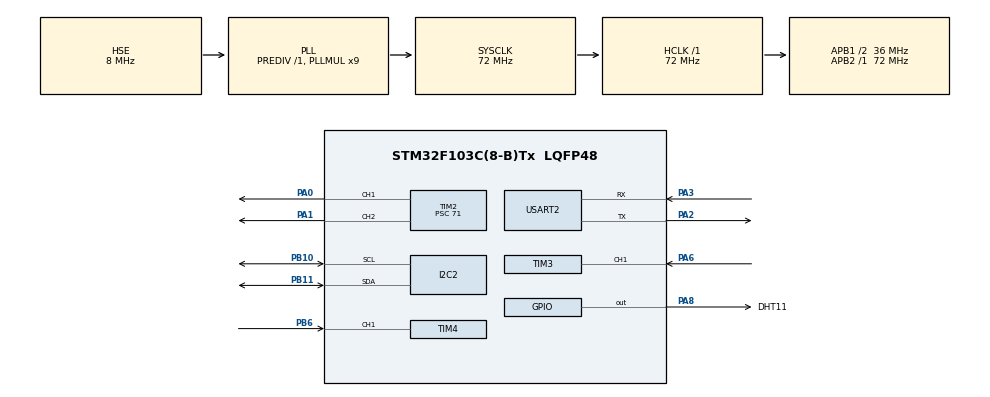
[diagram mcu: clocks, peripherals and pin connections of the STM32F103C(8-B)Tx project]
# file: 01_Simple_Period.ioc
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Mcu.Family=STM32F1
Mcu.Name=STM32F103C(8-B)Tx
Mcu.Package=LQFP48
NVIC.PriorityGroup=NVIC_PRIORITYGROUP_4
NVIC.TIM1_UP_IRQn=true\:0\:0\:false\:false\:true\:true\:true\:true
NVIC.TIM3_IRQn=true\:0\:0\:false\:false\:true\:true\:true\:true
NVIC.TIM4_IRQn=true\:0\:0\:false\:false\:true\:true\:true\:true
NVIC.USART2_IRQn=true\:0\:0\:false\:false\:true\:true\:true\:true
PA0-WKUP.Signal=S_TIM2_CH1_ETR
PA1.Signal=S_TIM2_CH2
PA13.Mode=Serial_Wire
PA13.Signal=SYS_JTMS-SWDIO
PA14.Mode=Serial_Wire
PA14.Signal=SYS_JTCK-SWCLK
PA2.Mode=Asynchronous
PA2.Signal=USART2_TX
PA3.Mode=Asynchronous
PA3.Signal=USART2_RX
PA6.Signal=S_TIM3_CH1
PA8.GPIO_Label=DHT11
PA8.PinState=GPIO_PIN_SET
PA8.Signal=GPIO_Output
PB10.Mode=I2C
PB10.Signal=I2C2_SCL
PB11.Mode=I2C
PB11.Signal=I2C2_SDA
PB6.Signal=S_TIM4_CH1
PD0-OSC_IN.Mode=HSE-External-Oscillator
PD0-OSC_IN.Signal=RCC_OSC_IN
PD1-OSC_OUT.Mode=HSE-External-Oscillator
PD1-OSC_OUT.Signal=RCC_OSC_OUT
ProjectManager.HeapSize=0x200
ProjectManager.StackSize=0x400
ProjectManager.TargetToolchain=STM32CubeIDE
RCC.AHBFreq_Value=72000000
RCC.APB1CLKDivider=RCC_HCLK_DIV2
RCC.APB1Freq_Value=36000000
RCC.APB1TimFreq_Value=72000000
RCC.APB2Freq_Value=72000000
RCC.APB2TimFreq_Value=72000000
RCC.HCLKFreq_Value=72000000
RCC.PLLMUL=RCC_PLL_MUL9
RCC.PLLSourceVirtual=RCC_PLLSOURCE_HSE
RCC.SYSCLKFreq_VALUE=72000000
RCC.SYSCLKSource=RCC_SYSCLKSOURCE_PLLCLK
RCC.USBFreq_Value=72000000
SH.S_TIM2_CH1_ETR.0=TIM2_CH1,PWM Generation1 CH1
SH.S_TIM2_CH2.0=TIM2_CH2,PWM Generation2 CH2
SH.S_TIM3_CH1.0=TIM3_CH1,Input_Capture1_from_TI1
SH.S_TIM4_CH1.0=TIM4_CH1,Input_Capture1_from_TI1
TIM1.Period=49999
TIM1.Prescaler=7199
TIM2.Channel-PWM\ Generation1\ CH1=TIM_CHANNEL_1
TIM2.Channel-PWM\ Generation2\ CH2=TIM_CHANNEL_2
TIM2.Period=999
TIM2.Prescaler=71
TIM2.Pulse-PWM\ Generation1\ CH1=500
TIM2.Pulse-PWM\ Generation2\ CH2=300
TIM3.Channel-Input_Capture1_from_TI1=TIM_CHANNEL_1
TIM3.Prescaler=71
TIM4.Channel-Input_Capture1_from_TI1=TIM_CHANNEL_1
TIM4.Period=0xffff - 1
TIM4.Prescaler=72-1
USART2.VirtualMode=VM_ASYNC
VP_TIM1_VS_ClockSourceINT.Mode=Internal
VP_TIM4_VS_ClockSourceINT.Mode=Internal
board=custom

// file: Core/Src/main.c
/* USER CODE BEGIN Header */
/**
  ******************************************************************************
  * @file           : main.c
  * @brief          : Main program body
  ******************************************************************************
  * @attention
  *
  * <h2><center>&copy; Copyright (c) 2020 STMicroelectronics.
  * All rights reserved.</center></h2>
  *
  * This software component is licensed by ST under BSD 3-Clause license,
  * the "License"; You may not use this file except in compliance with the
  * License. You may obtain a copy of the License at:
  *                        opensource.org/licenses/BSD-3-Clause
  *
  ******************************************************************************
  */
/* USER CODE END Header */
#include "main.h"
#include <stdio.h>
#include "DHT11/DHT.h"
#include "UART/my_uart.h"
#include "LCD/LCD.h"
#include "Frequency/Frequency.h"
/* USER CODE BEGIN Includes */
//#include "DHT11/DHT.h"
/* USER CODE END Includes */

I2C_HandleTypeDef hi2c2;

TIM_HandleTypeDef htim1;
TIM_HandleTypeDef htim2;
TIM_HandleTypeDef htim3;
TIM_HandleTypeDef htim4;

UART_HandleTypeDef huart2;

/* USER CODE BEGIN PV */
//DHT_Name DHT1;
float humi;
float temp;
uint32_t Frequency = 0;
volatile uint8_t flag_5s  = 0;

// Biến toàn cục dùng chung cho các task
float temp = 0, humi = 0;
uint32_t f1 = 0, f2 = 0;
bool dht_ok = false;
/* USER CODE END PV */

void SystemClock_Config(void);
static void MX_GPIO_Init(void);
static void MX_I2C2_Init(void);
static void MX_TIM4_Init(void);
static void MX_USART2_UART_Init(void);
static void MX_TIM2_Init(void);
static void MX_TIM3_Init(void);
static void MX_TIM1_Init(void);

/* USER CODE BEGIN 0 */
void HAL_TIM_PeriodElapsedCallback(TIM_HandleTypeDef *htim)
{
    if (htim->Instance == TIM1)
    {
    	UART_SendString(&huart2, "Ngat moi 5s\r\n");
    	flag_5s  = 1;
    }
}

// Task đọc tần số
void Task_ReadFrequency(void) {
    f1 = Frequency1_Read();
    f2 = Frequency2_Read();
}

// Task đọc nhiệt độ, độ ẩm
void Task_ReadDHT(void) {
    dht_ok = DHT11_Read(&temp, &humi);
}

// Task hiển thị LCD
void Task_LCD_Display(void) {
    if (dht_ok) {
        LCD_PrintFloat(0, 0, "Tem: ", temp, "C");
        LCD_PrintFloat(1, 0, "Hum: ", humi, "%");
    } else {
        LCD_Send_String("DHT Error");
    }
}

// Task gửi UART
void Task_UART_Send(void) {
    char msg[64];
    if (dht_ok) {
        sprintf(msg, "Temp: %.1f | Humi: %.1f | F1: %lu | F2: %lu\r\n", temp, humi, f1, f2);
    } else {
        sprintf(msg, "DHT11 Read Failed | F1: %lu | F2: %lu\r\n", f1, f2);
    }
    UART_SendString(&huart2, msg);
}

// Hàm gọi tuần tự các task
void App_ExecutePeriodicTasks(void)
{
    Task_ReadFrequency();
    Task_ReadDHT();
    Task_LCD_Display();
    Task_UART_Send();
}
/* USER CODE END 0 */

int main(void)
{

  /* MCU Configuration--------------------------------------------------------*/

  /* Reset of all peripherals, Initializes the Flash interface and the Systick. */
  HAL_Init();

  /* Configure the system clock */
  SystemClock_Config();

  /* Initialize all configured peripherals */
  MX_GPIO_Init();
  MX_I2C2_Init();
  MX_TIM4_Init();
  MX_USART2_UART_Init();
  MX_TIM2_Init();
  MX_TIM3_Init();
  MX_TIM1_Init();
  /* USER CODE BEGIN 2 */
//  HAL_TIM_Base_Start(&htim4);
  HAL_TIM_Base_Start_IT(&htim1);
  HAL_TIM_PWM_Start(&htim2, TIM_CHANNEL_1);
  HAL_TIM_PWM_Start(&htim2, TIM_CHANNEL_2);
  Frequency1_Init(&htim3); // HAL_TIM_IC_Start_IT
  Frequency2_Init(&htim4);
  UART_StartReceive_IT();
  DHT11_Init(&htim4);
  LCD_Init(&hi2c2);

  /* USER CODE END 2 */

  /* Infinite loop */
  while (1)
  {

    /* USER CODE BEGIN 3 */
	    if (flag_5s)
	    {
	        flag_5s = 0;
	        App_ExecutePeriodicTasks();  // DHT11, LCD, UART
	    }
  }

  /* USER CODE END 3 */
}

void SystemClock_Config(void)
{
  RCC_OscInitTypeDef RCC_OscInitStruct = {0};
  RCC_ClkInitTypeDef RCC_ClkInitStruct = {0};

  /** Initializes the RCC Oscillators according to the specified parameters
  * in the RCC_OscInitTypeDef structure.
  */
  RCC_OscInitStruct.OscillatorType = RCC_OSCILLATORTYPE_HSE;
  RCC_OscInitStruct.HSEState = RCC_HSE_ON;
  RCC_OscInitStruct.HSEPredivValue = RCC_HSE_PREDIV_DIV1;
  RCC_OscInitStruct.HSIState = RCC_HSI_ON;
  RCC_OscInitStruct.PLL.PLLState = RCC_PLL_ON;
  RCC_OscInitStruct.PLL.PLLSource = RCC_PLLSOURCE_HSE;
  RCC_OscInitStruct.PLL.PLLMUL = RCC_PLL_MUL9;
  if (HAL_RCC_OscConfig(&RCC_OscInitStruct) != HAL_OK)
  {
    Error_Handler();
  }

  /** Initializes the CPU, AHB and APB buses clocks
  */
  RCC_ClkInitStruct.ClockType = RCC_CLOCKTYPE_HCLK|RCC_CLOCKTYPE_SYSCLK
                              |RCC_CLOCKTYPE_PCLK1|RCC_CLOCKTYPE_PCLK2;
  RCC_ClkInitStruct.SYSCLKSource = RCC_SYSCLKSOURCE_PLLCLK;
  RCC_ClkInitStruct.AHBCLKDivider = RCC_SYSCLK_DIV1;
  RCC_ClkInitStruct.APB1CLKDivider = RCC_HCLK_DIV2;
  RCC_ClkInitStruct.APB2CLKDivider = RCC_HCLK_DIV1;

  if (HAL_RCC_ClockConfig(&RCC_ClkInitStruct, FLASH_LATENCY_2) != HAL_OK)
  {
    Error_Handler();
  }
}

static void MX_I2C2_Init(void)
{

  hi2c2.Instance = I2C2;
  hi2c2.Init.ClockSpeed = 100000;
  hi2c2.Init.DutyCycle = I2C_DUTYCYCLE_2;
  hi2c2.Init.OwnAddress1 = 0;
  hi2c2.Init.AddressingMode = I2C_ADDRESSINGMODE_7BIT;
  hi2c2.Init.DualAddressMode = I2C_DUALADDRESS_DISABLE;
  hi2c2.Init.OwnAddress2 = 0;
  hi2c2.Init.GeneralCallMode = I2C_GENERALCALL_DISABLE;
  hi2c2.Init.NoStretchMode = I2C_NOSTRETCH_DISABLE;
  if (HAL_I2C_Init(&hi2c2) != HAL_OK)
  {
    Error_Handler();
  }

}

static void MX_TIM1_Init(void)
{

  TIM_ClockConfigTypeDef sClockSourceConfig = {0};
  TIM_MasterConfigTypeDef sMasterConfig = {0};

  htim1.Instance = TIM1;
  htim1.Init.Prescaler = 7199;
  htim1.Init.CounterMode = TIM_COUNTERMODE_UP;
  htim1.Init.Period = 49999;
  htim1.Init.ClockDivision = TIM_CLOCKDIVISION_DIV1;
  htim1.Init.RepetitionCounter = 0;
  htim1.Init.AutoReloadPreload = TIM_AUTORELOAD_PRELOAD_DISABLE;
  if (HAL_TIM_Base_Init(&htim1) != HAL_OK)
  {
    Error_Handler();
  }
  sClockSourceConfig.ClockSource = TIM_CLOCKSOURCE_INTERNAL;
  if (HAL_TIM_ConfigClockSource(&htim1, &sClockSourceConfig) != HAL_OK)
  {
    Error_Handler();
  }
  sMasterConfig.MasterOutputTrigger = TIM_TRGO_RESET;
  sMasterConfig.MasterSlaveMode = TIM_MASTERSLAVEMODE_DISABLE;
  if (HAL_TIMEx_MasterConfigSynchronization(&htim1, &sMasterConfig) != HAL_OK)
  {
    Error_Handler();
  }

}

static void MX_TIM2_Init(void)
{

  TIM_MasterConfigTypeDef sMasterConfig = {0};
  TIM_OC_InitTypeDef sConfigOC = {0};

  htim2.Instance = TIM2;
  htim2.Init.Prescaler = 71;
  htim2.Init.CounterMode = TIM_COUNTERMODE_UP;
  htim2.Init.Period = 999;
  htim2.Init.ClockDivision = TIM_CLOCKDIVISION_DIV1;
  htim2.Init.AutoReloadPreload = TIM_AUTORELOAD_PRELOAD_DISABLE;
  if (HAL_TIM_PWM_Init(&htim2) != HAL_OK)
  {
    Error_Handler();
  }
  sMasterConfig.MasterOutputTrigger = TIM_TRGO_RESET;
  sMasterConfig.MasterSlaveMode = TIM_MASTERSLAVEMODE_DISABLE;
  if (HAL_TIMEx_MasterConfigSynchronization(&htim2, &sMasterConfig) != HAL_OK)
  {
    Error_Handler();
  }
  sConfigOC.OCMode = TIM_OCMODE_PWM1;
  sConfigOC.Pulse = 500;
  sConfigOC.OCPolarity = TIM_OCPOLARITY_HIGH;
  sConfigOC.OCFastMode = TIM_OCFAST_DISABLE;
  if (HAL_TIM_PWM_ConfigChannel(&htim2, &sConfigOC, TIM_CHANNEL_1) != HAL_OK)
  {
    Error_Handler();
  }
  sConfigOC.Pulse = 300;
  if (HAL_TIM_PWM_ConfigChannel(&htim2, &sConfigOC, TIM_CHANNEL_2) != HAL_OK)
  {
    Error_Handler();
  }
  HAL_TIM_MspPostInit(&htim2);

}

static void MX_TIM3_Init(void)
{

  TIM_MasterConfigTypeDef sMasterConfig = {0};
  TIM_IC_InitTypeDef sConfigIC = {0};

  htim3.Instance = TIM3;
  htim3.Init.Prescaler = 71;
  htim3.Init.CounterMode = TIM_COUNTERMODE_UP;
  htim3.Init.Period = 65535;
  htim3.Init.ClockDivision = TIM_CLOCKDIVISION_DIV1;
  htim3.Init.AutoReloadPreload = TIM_AUTORELOAD_PRELOAD_DISABLE;
  if (HAL_TIM_IC_Init(&htim3) != HAL_OK)
  {
    Error_Handler();
  }
  sMasterConfig.MasterOutputTrigger = TIM_TRGO_RESET;
  sMasterConfig.MasterSlaveMode = TIM_MASTERSLAVEMODE_DISABLE;
  if (HAL_TIMEx_MasterConfigSynchronization(&htim3, &sMasterConfig) != HAL_OK)
  {
    Error_Handler();
  }
  sConfigIC.ICPolarity = TIM_INPUTCHANNELPOLARITY_RISING;
  sConfigIC.ICSelection = TIM_ICSELECTION_DIRECTTI;
  sConfigIC.ICPrescaler = TIM_ICPSC_DIV1;
  sConfigIC.ICFilter = 0;
  if (HAL_TIM_IC_ConfigChannel(&htim3, &sConfigIC, TIM_CHANNEL_1) != HAL_OK)
  {
    Error_Handler();
  }

}

static void MX_TIM4_Init(void)
{

  TIM_ClockConfigTypeDef sClockSourceConfig = {0};
  TIM_MasterConfigTypeDef sMasterConfig = {0};
  TIM_IC_InitTypeDef sConfigIC = {0};

  htim4.Instance = TIM4;
  htim4.Init.Prescaler = 72-1;
  htim4.Init.CounterMode = TIM_COUNTERMODE_UP;
  htim4.Init.Period = 0xffff - 1;
  htim4.Init.ClockDivision = TIM_CLOCKDIVISION_DIV1;
  htim4.Init.AutoReloadPreload = TIM_AUTORELOAD_PRELOAD_DISABLE;
  if (HAL_TIM_Base_Init(&htim4) != HAL_OK)
  {
    Error_Handler();
  }
  sClockSourceConfig.ClockSource = TIM_CLOCKSOURCE_INTERNAL;
  if (HAL_TIM_ConfigClockSource(&htim4, &sClockSourceConfig) != HAL_OK)
  {
    Error_Handler();
  }
  if (HAL_TIM_IC_Init(&htim4) != HAL_OK)
  {
    Error_Handler();
  }
  sMasterConfig.MasterOutputTrigger = TIM_TRGO_RESET;
  sMasterConfig.MasterSlaveMode = TIM_MASTERSLAVEMODE_DISABLE;
  if (HAL_TIMEx_MasterConfigSynchronization(&htim4, &sMasterConfig) != HAL_OK)
  {
    Error_Handler();
  }
  sConfigIC.ICPolarity = TIM_INPUTCHANNELPOLARITY_RISING;
  sConfigIC.ICSelection = TIM_ICSELECTION_DIRECTTI;
  sConfigIC.ICPrescaler = TIM_ICPSC_DIV1;
  sConfigIC.ICFilter = 0;
  if (HAL_TIM_IC_ConfigChannel(&htim4, &sConfigIC, TIM_CHANNEL_1) != HAL_OK)
  {
    Error_Handler();
  }

}

static void MX_USART2_UART_Init(void)
{

  huart2.Instance = USART2;
  huart2.Init.BaudRate = 115200;
  huart2.Init.WordLength = UART_WORDLENGTH_8B;
  huart2.Init.StopBits = UART_STOPBITS_1;
  huart2.Init.Parity = UART_PARITY_NONE;
  huart2.Init.Mode = UART_MODE_TX_RX;
  huart2.Init.HwFlowCtl = UART_HWCONTROL_NONE;
  huart2.Init.OverSampling = UART_OVERSAMPLING_16;
  if (HAL_UART_Init(&huart2) != HAL_OK)
  {
    Error_Handler();
  }

}

static void MX_GPIO_Init(void)
{
  GPIO_InitTypeDef GPIO_InitStruct = {0};

  /* GPIO Ports Clock Enable */
  __HAL_RCC_GPIOD_CLK_ENABLE();
  __HAL_RCC_GPIOA_CLK_ENABLE();
  __HAL_RCC_GPIOB_CLK_ENABLE();

  /*Configure GPIO pin Output Level */
  HAL_GPIO_WritePin(DHT11_GPIO_Port, DHT11_Pin, GPIO_PIN_SET);

  /*Configure GPIO pin : DHT11_Pin */
  GPIO_InitStruct.Pin = DHT11_Pin;
  GPIO_InitStruct.Mode = GPIO_MODE_OUTPUT_PP;
  GPIO_InitStruct.Pull = GPIO_NOPULL;
  GPIO_InitStruct.Speed = GPIO_SPEED_FREQ_LOW;
  HAL_GPIO_Init(DHT11_GPIO_Port, &GPIO_InitStruct);

}

void Error_Handler(void)
{
}
